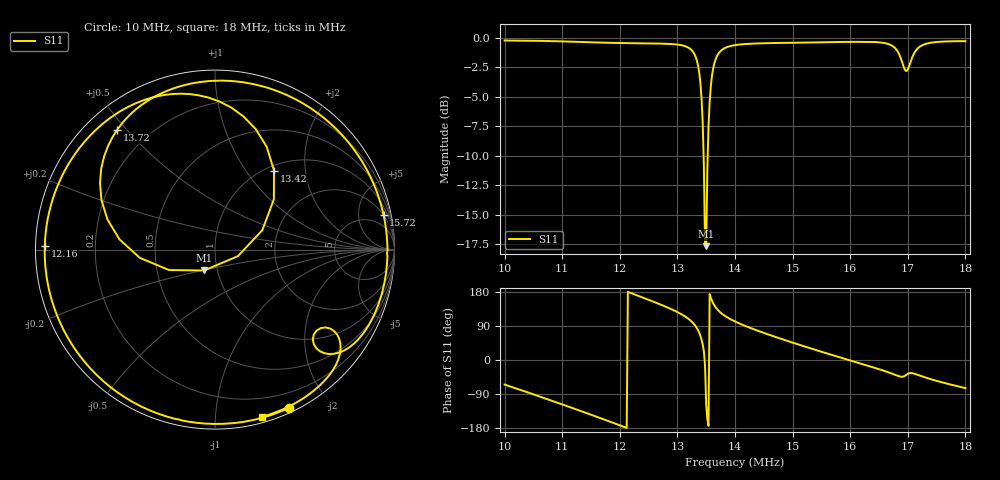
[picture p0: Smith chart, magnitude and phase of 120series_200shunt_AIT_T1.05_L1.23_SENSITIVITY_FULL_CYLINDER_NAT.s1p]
! NanoVNA Web complex sweep
! Processing: original sample grid, no browser smoothing
# Hz S RI R 50
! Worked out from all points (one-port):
!   401 points, 10 MHz to 18 MHz, reference 50 ohm
!   lowest |S11| = -17.6 dB at 13.5 MHz (marker M1), VSWR 1.30, Z = 43.2 - j10.2 ohm
!   |S11| at or under -10 dB: 13.45 MHz to 13.53 MHz (70.97 kHz wide, 0.526 % of centre)
!   S11 on the Smith chart (normalised r, x): 10 MHz: 0.05, -1.57; 12.16 MHz: 0.03, +0.01; 13.42 MHz: 1.08, +1.37; 13.72 MHz: 0.09, +0.47; 15.72 MHz: 2.00, +9.48; 18 MHz: 0.05, -1.32
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1e7  0.4137 -0.8816
1.052e7  -0.0279 -0.9706
1.1e7  -0.44 -0.8592
1.154e7  -0.7982 -0.5267
1.2e7  -0.9414 -0.1277
1.216e7  -0.9484 0.0225
1.26e7  -0.8423 0.43
1.3e7  -0.5555 0.7532
1.33e7  -0.0384 0.8475
1.336e7  0.1576 0.7429
1.342e7  0.3287 0.4404
1.346e7  0.2635 0.1082
1.35e7  -0.0606 -0.1163
1.354e7  -0.4189 -0.046
1.358e7  -0.5998 0.169
1.364e7  -0.634 0.45
1.372e7  -0.545 0.6679
1.4e7  -0.1883 0.9116
1.444e7  0.2489 0.9139
1.5e7  0.6638 0.6835
1.572e7  0.9394 0.1918
1.6e7  0.9583 -0.0223
1.644e7  0.893 -0.3492
1.676e7  0.7203 -0.5616
1.692e7  0.551 -0.5285
1.7e7  0.5907 -0.4368
1.722e7  0.6854 -0.6153
1.8e7  0.2616 -0.9314
